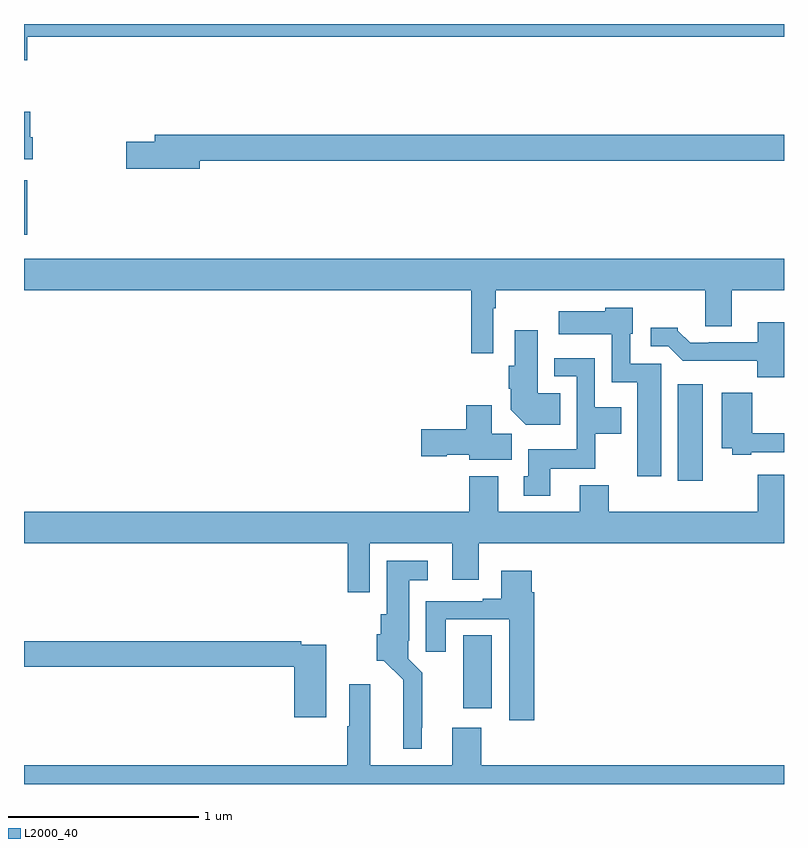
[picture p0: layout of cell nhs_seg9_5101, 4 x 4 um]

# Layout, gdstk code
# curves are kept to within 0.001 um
import gdstk
lib = gdstk.Library(unit=1e-6, precision=1e-09)
def R(c, l, rs):  # rectangles x0, y0, x1, y1
    for r in rs: c.add(gdstk.rectangle(r[:2], r[2:], *l))
def P(c, l, *ps):  # polygons
    for p in ps: c.add(gdstk.Polygon(p, *l))
L2000_40 = (2000, 40)

nhs_seg9_5101 = lib.new_cell('nhs_seg9_5101')
R(nhs_seg9_5101, L2000_40, [(409.313,1180.898,409.462,1181.282), (410.441,1182.096,410.572,1182.604), (407,1183.392,407.018,1183.678)])
P(nhs_seg9_5101, L2000_40, [(407.018,1184.432),(411,1184.432),(411,1184.5),(407,1184.5),(407,1184.308),(407.018,1184.308)],
  [(407.046,1183.905),(407.033,1183.905),(407.033,1184.038),(407,1184.038),(407,1183.787),(407.046,1183.787)],
  [(407.926,1183.78),(411,1183.78),(411,1183.916),(407.687,1183.916),(407.687,1183.88),(407.538,1183.88),(407.538,1183.738),(407.926,1183.738)],
  [(409.47,1183.004),(409.483,1183.004),(409.483,1183.1),(410.585,1183.1),(410.585,1182.91),(410.725,1182.91),(410.725,1183.1),(411,1183.1),(411,1183.264),(407,1183.264),(407,1183.1),(409.354,1183.1),(409.354,1182.768),(409.47,1182.768)],
  [(410.353,1182.711),(410.19,1182.711),(410.19,1182.87),(410.203,1182.87),(410.203,1183.006),(410.058,1183.006),(410.058,1182.988),(409.815,1182.988),(409.815,1182.866),(410.094,1182.866),(410.094,1182.614),(410.228,1182.614),(410.228,1182.12),(410.353,1182.12)],
  [(411,1182.931),(410.861,1182.931),(410.861,1182.825),(410.605,1182.825),(410.605,1182.822),(410.506,1182.822),(410.442,1182.886),(410.442,1182.901),(410.298,1182.901),(410.298,1182.804),(410.391,1182.804),(410.467,1182.728),(410.859,1182.728),(410.859,1182.641),(411,1182.641)],
  [(409.823,1182.556),(409.705,1182.556),(409.705,1182.889),(409.583,1182.889),(409.583,1182.702),(409.55,1182.702),(409.55,1182.58),(409.562,1182.58),(409.562,1182.47),(409.64,1182.392),(409.823,1182.392)],
  [(409.771,1182.158),(410.007,1182.158),(410.007,1182.344),(410.143,1182.344),(410.143,1182.484),(410.004,1182.484),(410.004,1182.741),(409.791,1182.741),(409.791,1182.645),(409.908,1182.645),(409.908,1182.262),(409.655,1182.262),(409.655,1182.12),(409.631,1182.12),(409.631,1182.018),(409.771,1182.018)],
  [(410.827,1182.246),(411,1182.246),(411,1182.347),(410.834,1182.347),(410.834,1182.559),(410.672,1182.559),(410.672,1182.266),(410.727,1182.266),(410.727,1182.234),(410.827,1182.234)],
  [(409.567,1182.344),(409.462,1182.344),(409.462,1182.493),(409.328,1182.493),(409.328,1182.368),(409.092,1182.368),(409.092,1182.226),(409.224,1182.226),(409.224,1182.233),(409.344,1182.233),(409.344,1182.206),(409.567,1182.206)],
  [(408.819,1181.768),(409.253,1181.768),(409.253,1181.574),(409.393,1181.574),(409.393,1181.768),(411,1181.768),(411,1182.127),(410.861,1182.127),(410.861,1181.932),(410.078,1181.932),(410.078,1182.073),(409.925,1182.073),(409.925,1181.932),(409.495,1181.932),(409.495,1182.121),(409.343,1182.121),(409.343,1181.932),(407,1181.932),(407,1181.768),(408.703,1181.768),(408.703,1181.508),(408.819,1181.508)],
  [(409.093,1180.795),(409.097,1180.795),(409.097,1181.086),(409.023,1181.16),(409.023,1181.254),(409.027,1181.254),(409.027,1181.573),(409.126,1181.573),(409.126,1181.674),(408.908,1181.674),(408.908,1181.394),(408.878,1181.394),(408.878,1181.289),(408.857,1181.289),(408.857,1181.15),(408.894,1181.15),(408.996,1181.048),(408.995,1180.685),(409.093,1180.685)],
  [(409.685,1181.51),(409.672,1181.51),(409.672,1181.623),(409.511,1181.623),(409.511,1181.476),(409.415,1181.476),(409.415,1181.463),(409.115,1181.463),(409.115,1181.196),(409.219,1181.196),(409.219,1181.367),(409.553,1181.367),(409.553,1180.836),(409.685,1180.836)],
  [(408.592,1181.232),(408.458,1181.232),(408.458,1181.252),(407,1181.252),(407,1181.116),(408.422,1181.116),(408.422,1180.851),(408.592,1180.851)],
  [(411,1180.6),(409.406,1180.6),(409.406,1180.795),(409.253,1180.795),(409.253,1180.6),(408.823,1180.6),(408.823,1181.026),(408.713,1181.026),(408.713,1180.805),(408.701,1180.805),(408.701,1180.6),(407,1180.6),(407,1180.5),(411,1180.5)])

lib.write_gds('nhs_seg9_5101.gds')
